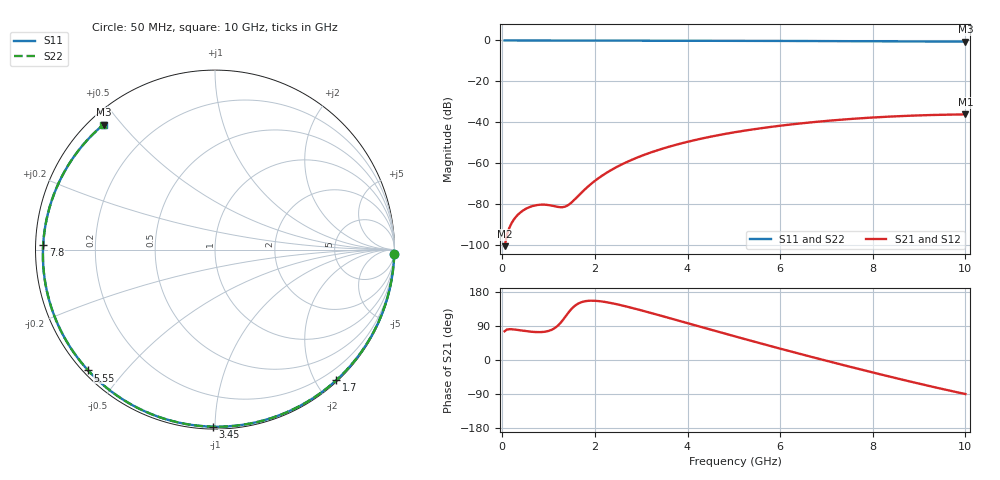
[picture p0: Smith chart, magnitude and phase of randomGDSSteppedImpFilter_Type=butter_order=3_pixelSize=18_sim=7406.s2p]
! freq	dB(S11)	phase(S11)	dB(S12)	phase(S12)
!  dB(S21)	phase(S21)	dB(S22)	phase(S22)
!S-par simulation data
#  GHz  S  DB  R 50
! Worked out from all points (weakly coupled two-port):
!   200 points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, 50 MHz to 10 GHz, reference 50 ohm
!   highest |S21| = -36.24 dB at 10 GHz (marker M1); lowest = -100.8 dB at 50 MHz (marker M2)
!   lowest |S11| = -0.6 dB at 10 GHz (marker M3), VSWR 29.03, Z = 2.07 + j22.4 ohm
!   |S11| at or under -10 dB: nowhere
!   |S22| runs from -0.6 to 0.0 dB; largest |S21 - S12| = 0
!   S11 on the Smith chart (normalised r, x): 50 MHz: 2, -83; 1.7 GHz: 0.02, -2.30; 3.45 GHz: 0.01, -0.99; 5.55 GHz: 0.01, -0.40; 7.8 GHz: 0.02, +0.01; 10 GHz: 0.04, +0.45
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0.05  -0.00 -1.4  -100.80 75.9  -100.80 75.9  -0.00 -1.4
0.7  -0.03 -19.7  -80.87 73.9  -80.87 73.9  -0.03 -19.7
1.05  -0.04 -29.5  -80.85 78.9  -80.85 78.9  -0.04 -29.4
1.45  -0.05 -40.4  -80.24 128.6  -80.24 128.6  -0.05 -40.4
1.5  -0.05 -41.7  -79.29 135.6  -79.29 135.6  -0.05 -41.7
1.7  -0.06 -47.1  -74.79 152.2  -74.79 152.2  -0.06 -47.0
1.75  -0.06 -48.4  -73.68 154.1  -73.68 154.1  -0.06 -48.4
2.05  -0.07 -56.3  -67.94 155.9  -67.94 155.9  -0.07 -56.2
2.45  -0.08 -66.5  -62.25 147.7  -62.25 147.7  -0.08 -66.5
2.9  -0.10 -77.6  -57.49 134.3  -57.49 134.3  -0.10 -77.6
3.4  -0.11 -89.6  -53.44 117.7  -53.44 117.7  -0.11 -89.5
3.45  -0.12 -90.8  -53.09 116.1  -53.09 116.1  -0.12 -90.7
4.2  -0.14 -107.8  -48.60 90.4  -48.60 90.4  -0.14 -107.7
5.05  -0.18 -126.0  -44.86 61.5  -44.86 61.5  -0.18 -126.0
5.55  -0.21 -136.4  -43.12 44.8  -43.12 44.8  -0.21 -136.3
6.15  -0.25 -148.6  -41.38 25.1  -41.38 25.1  -0.25 -148.5
6.7  -0.29 -159.6  -40.05 7.4  -40.05 7.4  -0.29 -159.5
7.25  -0.33 -170.5  -38.95 -9.9  -38.95 -9.9  -0.33 -170.5
7.8  -0.38 178.4  -38.04 -26.8  -38.04 -26.8  -0.38 178.5
8.35  -0.43 167.2  -37.33 -43.4  -37.33 -43.4  -0.43 167.3
9.15  -0.51 150.5  -36.61 -66.7  -36.61 -66.7  -0.51 150.6
10  -0.60 131.7  -36.24 -89.8  -36.24 -89.8  -0.60 131.8
